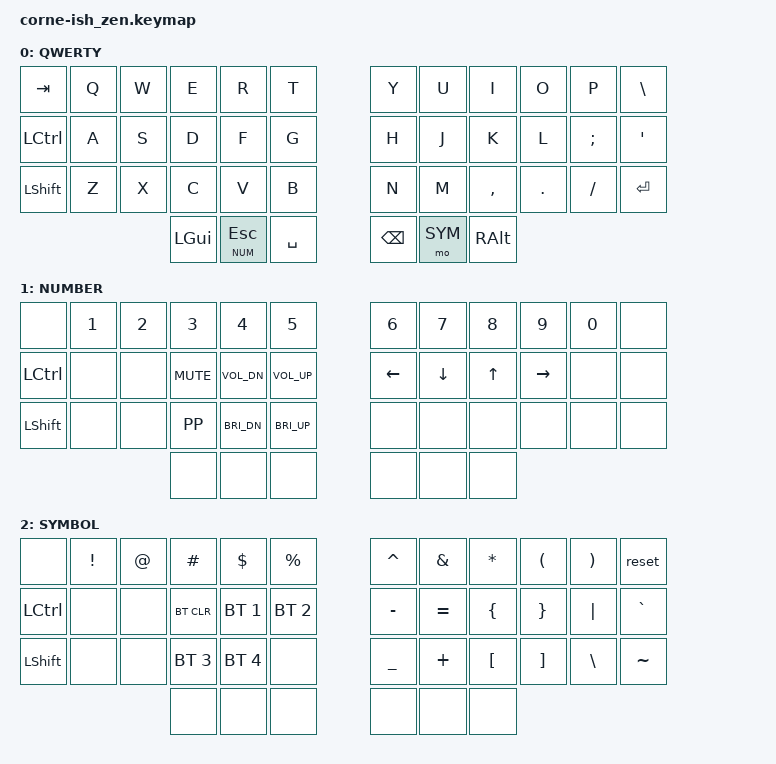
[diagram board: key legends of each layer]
// vim: ft=cpp

#include <behaviors.dtsi>
#include <dt-bindings/zmk/keys.h>
#include <dt-bindings/zmk/bt.h>

#define QWERTY 0
#define NUM 1
#define SYM 2

/ {
  keymap {
    compatible = "zmk,keymap";

    default_layer {
      label = "QWERTY";
      bindings = <
        &kp TAB   &kp Q &kp W &kp E &kp R &kp T    &kp Y &kp U &kp I    &kp O   &kp P    &kp BSLH
        &kp LCTRL &kp A &kp S &kp D &kp F &kp G    &kp H &kp J &kp K    &kp L   &kp SEMI &kp SQT
        &kp LSHFT &kp Z &kp X &kp C &kp V &kp B    &kp N &kp M &kp CMMA &kp DOT &kp FSLH &kp ENTER
                     &kp LGUI &lt NUM ESC &kp SPC  &kp BSPC &mo SYM &kp RALT
      >;
    };

    num_layer {
      label = "NUMBER";
      bindings = <
        &none &kp N1 &kp N2 &kp N3     &kp N4       &kp N5        &kp N6    &kp N7    &kp N8    &kp N9    &kp N0 &none
    &kp LCTRL &none  &none  &kp K_MUTE &kp K_VOL_DN &kp K_VOL_UP  &kp LEFT  &kp DOWN  &kp UP    &kp RIGHT &none  &none
    &kp LSHFT &none  &none  &kp K_PP   &kp C_BRI_DN &kp C_BRI_UP  &none     &none     &none     &none     &none  &none
                            &none      &none        &none         &none     &none     &none
      >;
    };

    sym_layer {
      label = "SYMBOL";
      bindings = < 
        &none      &kp EXCL     &kp AT       &kp HASH     &kp DLLR     &kp PRCNT    &kp CARET &kp AMPS  &kp STAR &kp LPAR &kp RPAR &reset
        &kp LCTRL  &none        &none        &bt BT_CLR   &bt BT_SEL 1 &bt BT_SEL 2 &kp MINUS &kp EQUAL &kp LBRC &kp RBRC &kp PIPE &kp GRAVE
        &kp LSHFT  &none        &none        &bt BT_SEL 3 &bt BT_SEL 4 &none        &kp UNDER &kp PLUS  &kp LBKT &kp RBKT &kp BSLH &kp TILDE
                                                           &none &none &none        &none &none &none
      >;
    };

  };
};
